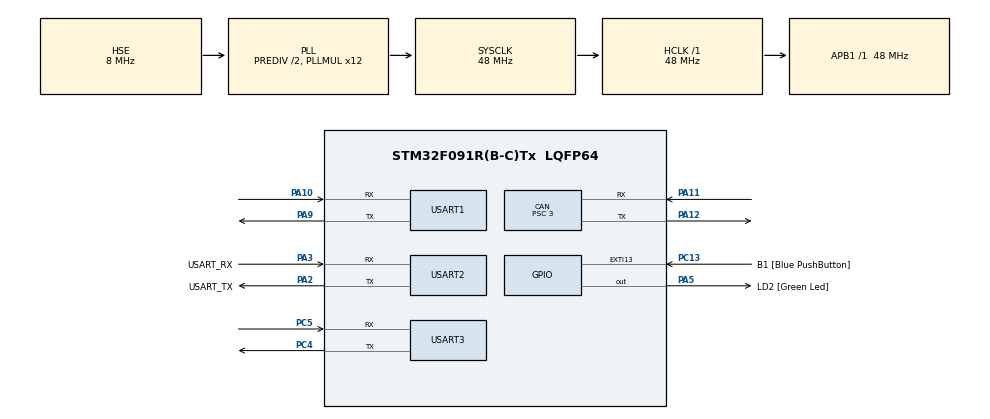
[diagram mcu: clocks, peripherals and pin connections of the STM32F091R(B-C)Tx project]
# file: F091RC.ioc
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CAN.BS1=CAN_BS1_13TQ
CAN.BS2=CAN_BS2_2TQ
CAN.CalculateBaudRate=1000000
CAN.CalculateTimeBit=1000
CAN.CalculateTimeQuantum=62.5
CAN.Mode=CAN_MODE_NORMAL
CAN.Prescaler=3
Mcu.Family=STM32F0
Mcu.Name=STM32F091R(B-C)Tx
Mcu.Package=LQFP64
NVIC.CEC_CAN_IRQn=true\:0\:0\:false\:false\:true\:true\:true\:true
NVIC.TIM17_IRQn=true\:0\:0\:false\:false\:true\:true\:true\:true
NVIC.USART1_IRQn=true\:0\:0\:false\:false\:true\:true\:true\:true
PA10.Mode=Asynchronous
PA10.Signal=USART1_RX
PA11.Mode=CAN_Activate
PA11.Signal=CAN_RX
PA12.Mode=CAN_Activate
PA12.Signal=CAN_TX
PA13.GPIO_Label=TMS
PA13.Mode=Serial_Wire
PA13.Signal=SYS_SWDIO
PA14.GPIO_Label=TCK
PA14.Mode=Serial_Wire
PA14.Signal=SYS_SWCLK
PA2.GPIO_Label=USART_TX
PA2.GPIO_Mode=GPIO_MODE_AF_PP
PA2.GPIO_PuPd=GPIO_NOPULL
PA2.GPIO_Speed=GPIO_SPEED_FREQ_LOW
PA2.Mode=Asynchronous
PA2.Signal=USART2_TX
PA3.GPIO_Label=USART_RX
PA3.GPIO_Mode=GPIO_MODE_AF_PP
PA3.GPIO_PuPd=GPIO_NOPULL
PA3.GPIO_Speed=GPIO_SPEED_FREQ_LOW
PA3.Mode=Asynchronous
PA3.Signal=USART2_RX
PA5.GPIO_Label=LD2 [Green Led]
PA5.GPIO_Mode=GPIO_MODE_OUTPUT_PP
PA5.GPIO_PuPd=GPIO_NOPULL
PA5.GPIO_Speed=GPIO_SPEED_FREQ_LOW
PA5.Signal=GPIO_Output
PA9.Mode=Asynchronous
PA9.Signal=USART1_TX
PC13.GPIO_Label=B1 [Blue PushButton]
PC13.GPIO_ModeDefaultEXTI=GPIO_MODE_IT_FALLING
PC13.Signal=GPXTI13
PC14OSC32_IN.Signal=RCC_OSC32_IN
PC15OSC32_OUT.Signal=RCC_OSC32_OUT
PC4.Mode=Asynchronous
PC4.Signal=USART3_TX
PC5.Mode=Asynchronous
PC5.Signal=USART3_RX
PF0-OSC_IN.Mode=HSE-External-Oscillator
PF0-OSC_IN.Signal=RCC_OSC_IN
PF1-OSC_OUT.Mode=HSE-External-Oscillator
PF1-OSC_OUT.Signal=RCC_OSC_OUT
ProjectManager.HeapSize=0x200
ProjectManager.StackSize=0x400
ProjectManager.TargetToolchain=STM32CubeIDE
RCC.AHBFreq_Value=48000000
RCC.APB1Freq_Value=48000000
RCC.APB1TimFreq_Value=48000000
RCC.FLatency-AdvancedSettings=FLASH_LATENCY_1
RCC.HCLKFreq_Value=48000000
RCC.PLLDivider=RCC_PREDIV_DIV2
RCC.PLLMUL=RCC_PLL_MUL12
RCC.PLLSourceVirtual=RCC_PLLSOURCE_HSE
RCC.PREFETCH_ENABLE-AdvancedSettings=1
RCC.SYSCLKFreq_VALUE=48000000
RCC.SYSCLKSource=RCC_SYSCLKSOURCE_PLLCLK
TIM17.Period=95
TIM17.Prescaler=49999
USART1.VirtualMode-Asynchronous=VM_ASYNC
USART2.VirtualMode=VM_ASYNC
USART2.VirtualMode-Asynchronous=VM_ASYNC
USART3.VirtualMode-Asynchronous=VM_ASYNC
VP_TIM17_VS_ClockSourceINT.Mode=Enable_Timer
board=NUCLEO-F091RC

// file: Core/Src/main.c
/* USER CODE BEGIN Header */
/**
  ******************************************************************************
  * @file           : main.c
  * @brief          : Main program body
  ******************************************************************************
  * @attention
  *
  * Copyright (c) 2026 STMicroelectronics.
  * All rights reserved.
  *
  * This software is licensed under terms that can be found in the LICENSE file
  * in the root directory of this software component.
  * If no LICENSE file comes with this software, it is provided AS-IS.
  *
  ******************************************************************************
  */
/* USER CODE END Header */
#include "main.h"
#include "can.h"
#include "tim.h"
#include "usart.h"
#include "gpio.h"

/* USER CODE BEGIN Includes */

#include <string.h>
#include <strings.h>
#include "CANOpen_app.h"
#include "CO_app_STM32.h"
/* USER CODE END Includes */

void SystemClock_Config(void);

/* USER CODE BEGIN 0 */

// 1ms timer interrupt
void HAL_TIM_PeriodElapsedCallback(TIM_HandleTypeDef *htim)
{
  /* USER CODE BEGIN Callback 0 */

  /* USER CODE END Callback 0 */
  if (htim->Instance == TIM1) {
    HAL_IncTick();
  }
  /* USER CODE BEGIN Callback 1 */
  // Handle CANOpen app interrupts
  if (htim == canopenNodeSTM32->timerHandle) {
	  HAL_GPIO_TogglePin(LD2_GPIO_Port, LD2_Pin);
      canopen_app_interrupt();
  }
  /* USER CODE END Callback 1 */
}

/* USER CODE END 0 */

int main(void)
{

  /* MCU Configuration--------------------------------------------------------*/

  /* Reset of all peripherals, Initializes the Flash interface and the Systick. */
  HAL_Init();

  /* Configure the system clock */
  SystemClock_Config();

  /* Initialize all configured peripherals */
  MX_GPIO_Init();
  MX_USART2_UART_Init();
  MX_CAN_Init();
  MX_TIM17_Init();
  MX_USART1_UART_Init();
  MX_USART3_UART_Init();
  /* USER CODE BEGIN 2 */

  can_filter();
  HAL_CAN_ConfigFilter(&hcan, &sFilterConfig);
  HAL_CAN_Start(&hcan);

  can_activate_interrupts();

//  can_error_check();

  HAL_UART_Transmit(&huart1, (uint8_t *)"\r\nProgram started!", sizeof("\r\nProgram started!"), 100);

//	CANopenNodeSTM32 canOpenNodeSTM32;
//	canOpenNodeSTM32.CANHandle = &hcan;
//	canOpenNodeSTM32.HWInitFunction = MX_CAN_Init;
//	canOpenNodeSTM32.timerHandle = &htim17;
//	canOpenNodeSTM32.desiredNodeID = 29;
//	canOpenNodeSTM32.baudrate = 125;
//	canopen_app_init(&canOpenNodeSTM32);

  CANOpen_App_Init();
//
//  canopen_app_process();

//  canopen_app_init(&canOpen);

  /* USER CODE END 2 */

  /* Infinite loop */
  /* USER CODE BEGIN WHILE */
  while (1)
  {
	  canopen_app_process();

//	  CANOpen_App_Init();
    /* USER CODE END WHILE */

  }
}

void SystemClock_Config(void)
{
  RCC_OscInitTypeDef RCC_OscInitStruct = {0};
  RCC_ClkInitTypeDef RCC_ClkInitStruct = {0};
  RCC_PeriphCLKInitTypeDef PeriphClkInit = {0};

  /** Initializes the RCC Oscillators according to the specified parameters
  * in the RCC_OscInitTypeDef structure.
  */
  RCC_OscInitStruct.OscillatorType = RCC_OSCILLATORTYPE_HSE;
  RCC_OscInitStruct.HSEState = RCC_HSE_ON;
  RCC_OscInitStruct.PLL.PLLState = RCC_PLL_ON;
  RCC_OscInitStruct.PLL.PLLSource = RCC_PLLSOURCE_HSE;
  RCC_OscInitStruct.PLL.PLLMUL = RCC_PLL_MUL12;
  RCC_OscInitStruct.PLL.PREDIV = RCC_PREDIV_DIV2;
  if (HAL_RCC_OscConfig(&RCC_OscInitStruct) != HAL_OK)
  {
    Error_Handler();
  }

  /** Initializes the CPU, AHB and APB buses clocks
  */
  RCC_ClkInitStruct.ClockType = RCC_CLOCKTYPE_HCLK|RCC_CLOCKTYPE_SYSCLK
                              |RCC_CLOCKTYPE_PCLK1;
  RCC_ClkInitStruct.SYSCLKSource = RCC_SYSCLKSOURCE_PLLCLK;
  RCC_ClkInitStruct.AHBCLKDivider = RCC_SYSCLK_DIV1;
  RCC_ClkInitStruct.APB1CLKDivider = RCC_HCLK_DIV1;

  if (HAL_RCC_ClockConfig(&RCC_ClkInitStruct, FLASH_LATENCY_1) != HAL_OK)
  {
    Error_Handler();
  }
  PeriphClkInit.PeriphClockSelection = RCC_PERIPHCLK_USART3|RCC_PERIPHCLK_USART1
                              |RCC_PERIPHCLK_USART2;
  PeriphClkInit.Usart1ClockSelection = RCC_USART1CLKSOURCE_PCLK1;
  PeriphClkInit.Usart2ClockSelection = RCC_USART2CLKSOURCE_PCLK1;
  PeriphClkInit.Usart3ClockSelection = RCC_USART3CLKSOURCE_PCLK1;
  if (HAL_RCCEx_PeriphCLKConfig(&PeriphClkInit) != HAL_OK)
  {
    Error_Handler();
  }
}

void Error_Handler(void)
{
  __disable_irq();
  while (1)
  {
  }
}
